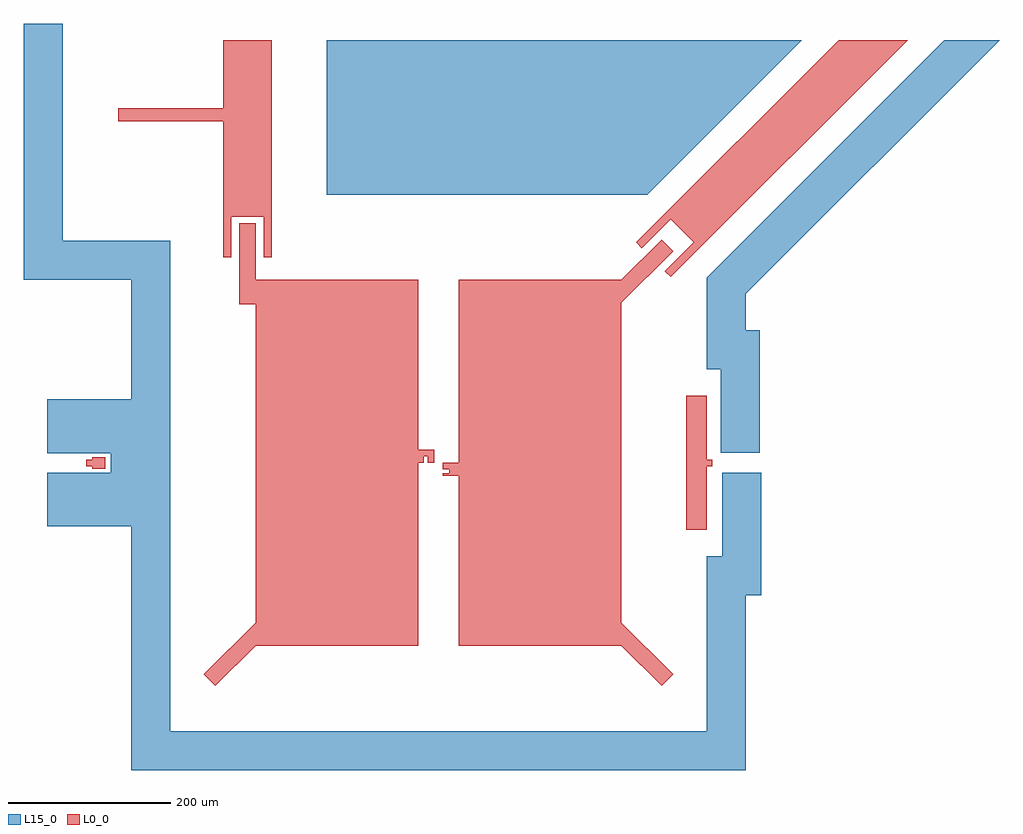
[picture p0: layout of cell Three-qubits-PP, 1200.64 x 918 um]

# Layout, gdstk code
import gdstk
lib = gdstk.Library(unit=1e-6, precision=1e-09)
def P(c, l, *ps):  # polygons
    for p in ps: c.add(gdstk.Polygon(p, *l))
L0_0 = (0, 0)
L15_0 = (15, 0)

three_qubits_pp = lib.new_cell('Three-qubits-PP')
P(three_qubits_pp, L0_0, [(2777,1920),(2692.148,1920),(2443.256,1671.109),(2450.327,1664.037),(2485.682,1699.393),(2513.966,1671.109),(2478.611,1635.753),(2485.682,1628.682)],
  [(1995,1920),(1935,1920),(1935,1836),(1806,1836),(1806,1820),(1935,1820),(1935,1653),(1945,1653),(1945,1703),(1985,1703),(1985,1653),(1995,1653)],
  [(1975,1175),(2175,1175),(2175,1400),(2182,1400),(2182,1408),(2187,1408),(2187,1400),(2195,1400),(2195,1416),(2175,1416),(2175,1625),(1975,1625),(1975,1695),(1955,1695),(1955,1595),(1975,1595),(1975,1203.284),(1911.36,1139.645),(1925.503,1125.503)],
  [(2488.64,1139.645),(2425,1203.284),(2425,1596.716),(2488.64,1660.355),(2474.497,1674.497),(2425,1625),(2225,1625),(2225,1400),(2205,1400),(2205,1392),(2213,1392),(2213,1387),(2205,1387),(2205,1384),(2225,1384),(2225,1175),(2425,1175),(2474.497,1125.503)],
  [(2530,1396),(2537,1396),(2537,1404),(2530,1404),(2530,1482.6),(2505,1482.6),(2505,1317.4),(2530,1317.4)],
  [(1790,1407),(1774,1407),(1774,1404),(1767,1404),(1767,1396),(1774,1396),(1774,1393),(1790,1393)])
P(three_qubits_pp, L15_0, [(2822.255,1920),(2530,1627.745),(2530,1515),(2547,1515),(2547,1412.4),(2595,1412.4),(2595,1563),(2578,1563),(2578,1607.863),(2890.137,1920)],
  [(1737.5,1940),(1690,1940),(1690,1799.5),(1689.5,1799.5),(1689.5,1625),(1822,1625),(1822,1478),(1719,1478),(1719,1412),(1797,1412),(1797,1388),(1719,1388),(1719,1322),(1822,1322),(1822,1022),(2578,1022),(2578,1237),(2597,1237),(2597,1387.6),(2549,1387.6),(2549,1285),(2530,1285),(2530,1070),(1870,1070),(1870,1673),(1737.5,1673)],
  [(2646.892,1920),(2062.5,1920),(2062.5,1730),(2456.892,1730)])

lib.write_gds('Three-qubits-PP.gds')
